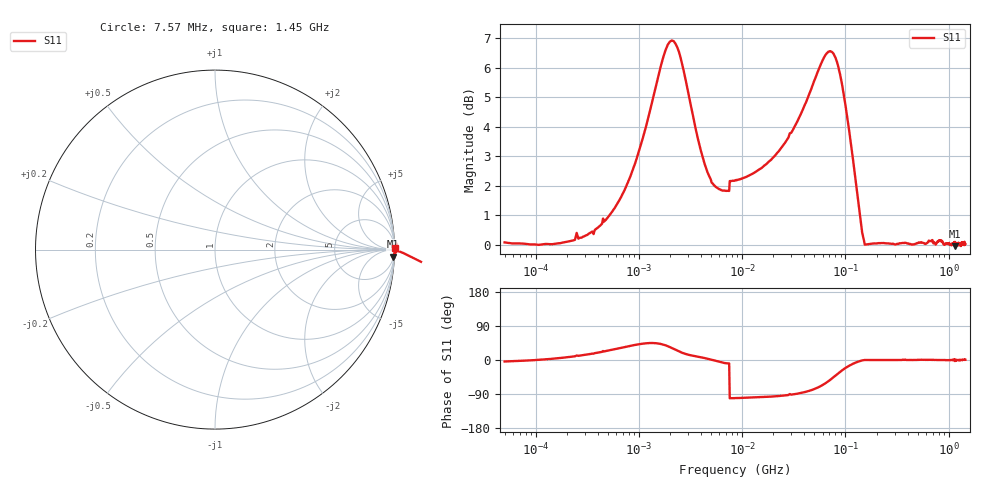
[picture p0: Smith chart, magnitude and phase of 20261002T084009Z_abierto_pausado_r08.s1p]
! piloto_saltos / abierto_pausado / r08
# HZ S RI R 50
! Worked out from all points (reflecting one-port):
!   501 points, 50 kHz to 1.45 GHz, reference 50 ohm
!   lowest |S11| = 0.0 dB at 1.157 GHz (marker M1), VSWR 363.48, Z = 357 - j2.52e+03 ohm
!   phase of S11 starts at -4 deg and turns +4 deg over the sweep
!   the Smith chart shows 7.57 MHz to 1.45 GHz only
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50000  1.007 -0.0693
183000  1.003 0.1052
363500  0.9984 0.3004
658000  1.02 0.6275
1180000  1.144 1.112
1630000  1.489 1.353
1990000  1.83 1.239
2440000  1.961 0.818
3430000  1.587 0.2939
4870000  1.298 0.0422
7300000  1.22 -0.1933
7750000  -0.2416 -1.259
8560000  -0.2361 -1.264
1.72e7  -0.1758 -1.36
3.16e7  -0.0104 -1.577
4.69e7  0.3383 -1.812
5.68e7  0.6969 -1.886
6.49e7  1.045 -1.827
7.39e7  1.398 -1.599
8.65e7  1.649 -1.097
9.82e7  1.627 -0.6755
1e8  1.61 -0.6182
1.18e8  1.379 -0.2459
1.36e8  1.148 -0.0679
1.63e8  1.002 -0.000533
4.06e8  1.005 0.00166
1.1575e9  0.9938 -0.0387
1.45e9  1.002 0.00843
